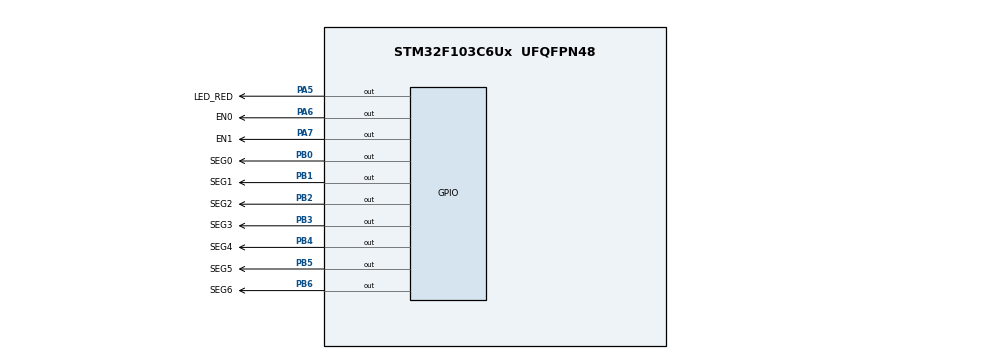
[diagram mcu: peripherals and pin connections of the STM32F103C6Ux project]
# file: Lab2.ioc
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Mcu.Family=STM32F1
Mcu.Name=STM32F103C6Ux
Mcu.Package=UFQFPN48
NVIC.PriorityGroup=NVIC_PRIORITYGROUP_4
NVIC.TIM2_IRQn=true\:0\:0\:false\:false\:true\:true\:true\:true
PA5.GPIO_Label=LED_RED
PA5.Signal=GPIO_Output
PA6.GPIO_Label=EN0
PA6.Signal=GPIO_Output
PA7.GPIO_Label=EN1
PA7.Signal=GPIO_Output
PB0.GPIO_Label=SEG0
PB0.Signal=GPIO_Output
PB1.GPIO_Label=SEG1
PB1.Signal=GPIO_Output
PB2.GPIO_Label=SEG2
PB2.Signal=GPIO_Output
PB3.GPIO_Label=SEG3
PB3.Signal=GPIO_Output
PB4.GPIO_Label=SEG4
PB4.Signal=GPIO_Output
PB5.GPIO_Label=SEG5
PB5.Signal=GPIO_Output
PB6.GPIO_Label=SEG6
PB6.Signal=GPIO_Output
ProjectManager.HeapSize=0x200
ProjectManager.StackSize=0x400
ProjectManager.TargetToolchain=STM32CubeIDE
RCC.APB1Freq_Value=8000000
RCC.APB2Freq_Value=8000000
TIM2.Period=9
TIM2.Prescaler=7999
VP_SYS_VS_ND.Mode=No_Debug
VP_TIM2_VS_ClockSourceINT.Mode=Internal
board=custom

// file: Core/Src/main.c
/* USER CODE BEGIN Header */
/**
  ******************************************************************************
  * @file           : main.c
  * @brief          : Main program body
  ******************************************************************************
  * @attention
  *
  * Copyright (c) 2026 STMicroelectronics.
  * All rights reserved.
  *
  * This software is licensed under terms that can be found in the LICENSE file
  * in the root directory of this software component.
  * If no LICENSE file comes with this software, it is provided AS-IS.
  *
  ******************************************************************************
  */
/* USER CODE END Header */
#include "main.h"

/* USER CODE BEGIN PTD */
typedef struct {
    GPIO_TypeDef* port;
    uint16_t pin;
} PinRef;
/* USER CODE END PTD */

TIM_HandleTypeDef htim2;

/* USER CODE BEGIN PV */
PinRef segPins[7] = {
    {SEG0_GPIO_Port, SEG0_Pin},   // a
    {SEG1_GPIO_Port, SEG1_Pin},   // b
    {SEG2_GPIO_Port, SEG2_Pin},   // c
    {SEG3_GPIO_Port, SEG3_Pin},   // d
    {SEG4_GPIO_Port, SEG4_Pin},   // e
    {SEG5_GPIO_Port, SEG5_Pin},   // f
    {SEG6_GPIO_Port, SEG6_Pin}    // g
};

// bit0=a, bit1=b, bit2=c, bit3=d, bit4=e, bit5=f, bit6=g — 1 = tắt (active-low, common-anode)
const uint8_t seg_table[10] = {
    0x40, // 0
    0x79, // 1
    0x24, // 2
    0x30, // 3
    0x19, // 4
    0x12, // 5
    0x02, // 6
    0x78, // 7
    0x00, // 8
    0x10  // 9
};
/* USER CODE END PV */

void SystemClock_Config(void);
static void MX_GPIO_Init(void);
static void MX_TIM2_Init(void);
/* USER CODE BEGIN PFP */
void display7SEG(int num);
/* USER CODE END PFP */

int main(void)
{

  /* MCU Configuration--------------------------------------------------------*/

  /* Reset of all peripherals, Initializes the Flash interface and the Systick. */
  HAL_Init();

  /* Configure the system clock */
  SystemClock_Config();

  /* Initialize all configured peripherals */
  MX_GPIO_Init();
  MX_TIM2_Init();
  /* USER CODE BEGIN 2 */
  HAL_TIM_Base_Start_IT(&htim2);
  /* USER CODE END 2 */

  /* Infinite loop */
  while (1)
  {

  }
}

void SystemClock_Config(void)
{
  RCC_OscInitTypeDef RCC_OscInitStruct = {0};
  RCC_ClkInitTypeDef RCC_ClkInitStruct = {0};

  /** Initializes the RCC Oscillators according to the specified parameters
  * in the RCC_OscInitTypeDef structure.
  */
  RCC_OscInitStruct.OscillatorType = RCC_OSCILLATORTYPE_HSI;
  RCC_OscInitStruct.HSIState = RCC_HSI_ON;
  RCC_OscInitStruct.HSICalibrationValue = RCC_HSICALIBRATION_DEFAULT;
  RCC_OscInitStruct.PLL.PLLState = RCC_PLL_NONE;
  if (HAL_RCC_OscConfig(&RCC_OscInitStruct) != HAL_OK)
  {
    Error_Handler();
  }

  /** Initializes the CPU, AHB and APB buses clocks
  */
  RCC_ClkInitStruct.ClockType = RCC_CLOCKTYPE_HCLK|RCC_CLOCKTYPE_SYSCLK
                              |RCC_CLOCKTYPE_PCLK1|RCC_CLOCKTYPE_PCLK2;
  RCC_ClkInitStruct.SYSCLKSource = RCC_SYSCLKSOURCE_HSI;
  RCC_ClkInitStruct.AHBCLKDivider = RCC_SYSCLK_DIV1;
  RCC_ClkInitStruct.APB1CLKDivider = RCC_HCLK_DIV1;
  RCC_ClkInitStruct.APB2CLKDivider = RCC_HCLK_DIV1;

  if (HAL_RCC_ClockConfig(&RCC_ClkInitStruct, FLASH_LATENCY_0) != HAL_OK)
  {
    Error_Handler();
  }
}

static void MX_TIM2_Init(void)
{

  TIM_ClockConfigTypeDef sClockSourceConfig = {0};
  TIM_MasterConfigTypeDef sMasterConfig = {0};

  htim2.Instance = TIM2;
  htim2.Init.Prescaler = 7999;
  htim2.Init.CounterMode = TIM_COUNTERMODE_UP;
  htim2.Init.Period = 9;
  htim2.Init.ClockDivision = TIM_CLOCKDIVISION_DIV1;
  htim2.Init.AutoReloadPreload = TIM_AUTORELOAD_PRELOAD_DISABLE;
  if (HAL_TIM_Base_Init(&htim2) != HAL_OK)
  {
    Error_Handler();
  }
  sClockSourceConfig.ClockSource = TIM_CLOCKSOURCE_INTERNAL;
  if (HAL_TIM_ConfigClockSource(&htim2, &sClockSourceConfig) != HAL_OK)
  {
    Error_Handler();
  }
  sMasterConfig.MasterOutputTrigger = TIM_TRGO_RESET;
  sMasterConfig.MasterSlaveMode = TIM_MASTERSLAVEMODE_DISABLE;
  if (HAL_TIMEx_MasterConfigSynchronization(&htim2, &sMasterConfig) != HAL_OK)
  {
    Error_Handler();
  }

}

static void MX_GPIO_Init(void)
{
  GPIO_InitTypeDef GPIO_InitStruct = {0};

  /* GPIO Ports Clock Enable */
  __HAL_RCC_GPIOA_CLK_ENABLE();
  __HAL_RCC_GPIOB_CLK_ENABLE();

  /*Configure GPIO pin Output Level */
  HAL_GPIO_WritePin(GPIOA, LED_RED_Pin|EN0_Pin|EN1_Pin, GPIO_PIN_RESET);

  /*Configure GPIO pin Output Level */
  HAL_GPIO_WritePin(GPIOB, SEG0_Pin|SEG1_Pin|SEG2_Pin|SEG3_Pin
                          |SEG4_Pin|SEG5_Pin|SEG6_Pin, GPIO_PIN_RESET);

  /*Configure GPIO pins : LED_RED_Pin EN0_Pin EN1_Pin */
  GPIO_InitStruct.Pin = LED_RED_Pin|EN0_Pin|EN1_Pin;
  GPIO_InitStruct.Mode = GPIO_MODE_OUTPUT_PP;
  GPIO_InitStruct.Pull = GPIO_NOPULL;
  GPIO_InitStruct.Speed = GPIO_SPEED_FREQ_LOW;
  HAL_GPIO_Init(GPIOA, &GPIO_InitStruct);

  /*Configure GPIO pins : SEG0_Pin SEG1_Pin SEG2_Pin SEG3_Pin
                           SEG4_Pin SEG5_Pin SEG6_Pin */
  GPIO_InitStruct.Pin = SEG0_Pin|SEG1_Pin|SEG2_Pin|SEG3_Pin
                          |SEG4_Pin|SEG5_Pin|SEG6_Pin;
  GPIO_InitStruct.Mode = GPIO_MODE_OUTPUT_PP;
  GPIO_InitStruct.Pull = GPIO_NOPULL;
  GPIO_InitStruct.Speed = GPIO_SPEED_FREQ_LOW;
  HAL_GPIO_Init(GPIOB, &GPIO_InitStruct);

}

/* USER CODE BEGIN 4 */
void display7SEG(int num) {
    if (num < 0 || num > 9) return;   // validate input, tránh truy cập ngoài mảng

    uint8_t pattern = seg_table[num];

    for (int i = 0; i < 7; i++) {
        GPIO_PinState state = ((pattern >> i) & 0x01) ? GPIO_PIN_SET : GPIO_PIN_RESET;
        HAL_GPIO_WritePin(segPins[i].port, segPins[i].pin, state);
    }
}
int digitToShow[2] = {1, 2};
int activeDigit = 0;
int tickCount = 0;
const int SWITCH_INTERVAL = 50; // 50 x 10ms = 500ms

void HAL_TIM_PeriodElapsedCallback(TIM_HandleTypeDef *htim) {
    tickCount++;
    if (tickCount >= SWITCH_INTERVAL) {
        tickCount = 0;
        HAL_GPIO_WritePin(EN0_GPIO_Port, EN0_Pin, GPIO_PIN_SET);
        HAL_GPIO_WritePin(EN1_GPIO_Port, EN1_Pin, GPIO_PIN_SET);
        activeDigit = (activeDigit + 1) % 2;
        display7SEG(digitToShow[activeDigit]);
        if (activeDigit == 0) HAL_GPIO_WritePin(EN0_GPIO_Port, EN0_Pin, GPIO_PIN_RESET);
        else                  HAL_GPIO_WritePin(EN1_GPIO_Port, EN1_Pin, GPIO_PIN_RESET);
    }
}
/* USER CODE END 4 */

void Error_Handler(void)
{
  __disable_irq();
  while (1)
  {
  }
}
